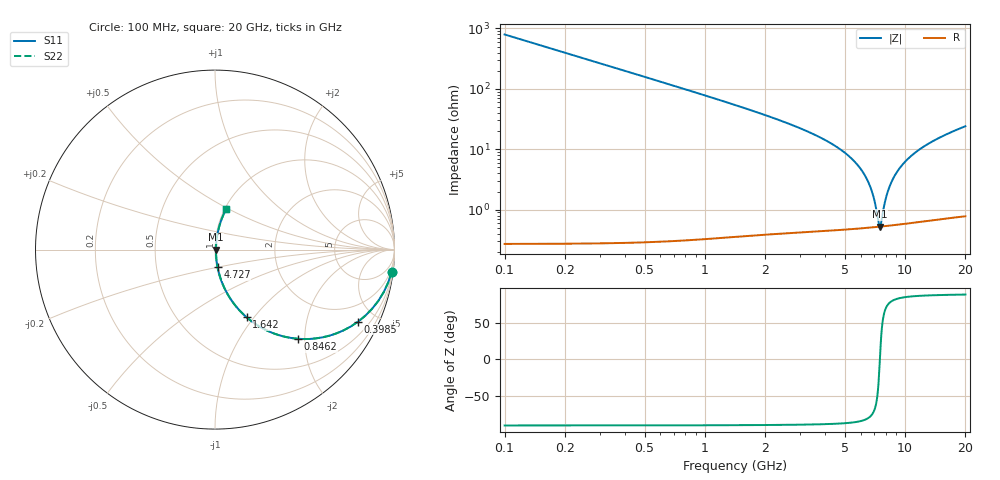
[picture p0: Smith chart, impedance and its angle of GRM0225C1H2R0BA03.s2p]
!Murata Part Number: GRM0225C1H2R0BA03
!These Parameters are Measured in Series Mode Connection
!Data Generated on Mar 30, 2021
!  o--ll--o
!Port1  Port2
!  o------o
!Operation Temp=25[degC], DC Bias Voltage=0[V]
!Freq. Start=100[MHz] Stop=20[GHz] 401[Steps]
# Hz S RI R 50
!Freq.(Hz) S11(Real) S11(Imag) S21(Real) S21(Imag) S12(Real) S12(Imag) S22(Real) S22(Imag)
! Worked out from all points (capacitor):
!   401 points, 100 MHz to 20 GHz, reference 50 ohm
!   read as one part in series: C = 2 pF near 199.5 MHz
!   lowest |Z| = 527 mohm at 7.463 GHz (marker M1)
!   series resonance near 7.482 GHz, so ESL is about 230 pH
!   S11 on the Smith chart (normalised r, x): 100 MHz: 1, -16; 398.5 MHz: 1.01, -3.98; 846.2 MHz: 1.01, -1.86; 1.642 GHz: 1.01, -0.92; 4.727 GHz: 1.01, -0.20; 20 GHz: 1.02, +0.48
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1e8  0.9844 -0.1237  0.0156 0.1237  0.0156 0.1237  0.9844 -0.1237
2.99e8  0.8757 -0.3295  0.1243 0.3295  0.1243 0.3295  0.8757 -0.3295
3.985e8  0.7982 -0.4006  0.2018 0.4006  0.2018 0.4006  0.7982 -0.4006
5.975e8  0.636 -0.48  0.364 0.48  0.364 0.48  0.636 -0.48
8.4625e8  0.4626 -0.4969  0.5374 0.4969  0.5374 0.4969  0.4626 -0.4969
1.1945e9  0.297 -0.4543  0.703 0.4543  0.703 0.4543  0.297 -0.4543
1.64225e9  0.1769 -0.3776  0.8231 0.3776  0.8231 0.3776  0.1769 -0.3776
2.33875e9  0.0888 -0.278  0.9112 0.278  0.9112 0.278  0.0888 -0.278
3.43325e9  0.0361 -0.175  0.9639 0.175  0.9639 0.175  0.0361 -0.175
4.72675e9  0.0145 -0.0988  0.9855 0.0988  0.9855 0.0988  0.0145 -0.0988
5.9705e9  0.00716 -0.0476  0.9928 0.0476  0.9928 0.0476  0.00716 -0.0476
6.7665e9  0.0055 -0.0211  0.9945 0.0211  0.9945 0.0211  0.0055 -0.0211
7.463e9  0.00522 -0.000522  0.9948 0.000522  0.9948 0.000522  0.00522 -0.000522
7.5625e9  0.00525 0.00225  0.9948 -0.00225  0.9948 -0.00225  0.00525 0.00225
8.06e9  0.0056 0.0156  0.9944 -0.0156  0.9944 -0.0156  0.0056 0.0156
8.458e9  0.00611 0.0257  0.9939 -0.0257  0.9939 -0.0257  0.00611 0.0257
9.1545e9  0.00742 0.0423  0.9926 -0.0423  0.9926 -0.0423  0.00742 0.0423
1.005e10  0.00973 0.0622  0.9903 -0.0622  0.9903 -0.0622  0.00973 0.0622
1.149275e10  0.0146 0.0913  0.9854 -0.0913  0.9854 -0.0913  0.0146 0.0913
1.338325e10  0.0227 0.1256  0.9773 -0.1256  0.9773 -0.1256  0.0227 0.1256
1.67165e10  0.0405 0.1787  0.9595 -0.1787  0.9595 -0.1787  0.0405 0.1787
2e10  0.0614 0.2243  0.9386 -0.2243  0.9386 -0.2243  0.0614 0.2243
